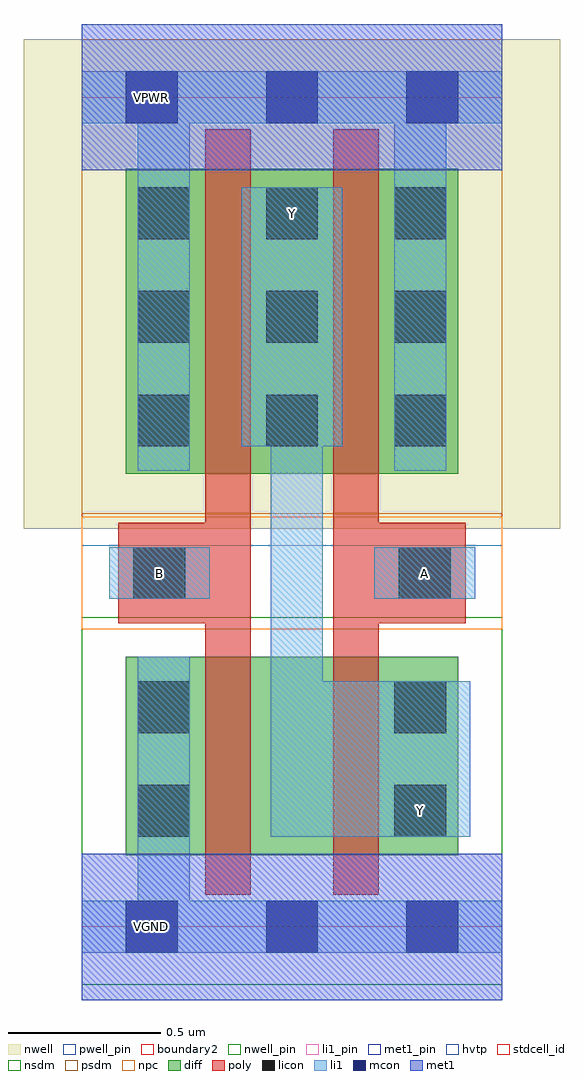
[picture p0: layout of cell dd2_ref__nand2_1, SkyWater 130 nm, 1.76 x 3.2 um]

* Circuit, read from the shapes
.subckt dd2_ref__nand2_1 A B VGND VNB VPB VPWR Y
XM1 n1 B VGND VNB sky130_fd_pr__nfet_01v8 w=0.65 l=0.15
XM2 Y A n1 VNB sky130_fd_pr__nfet_01v8 w=0.65 l=0.15
XM3 Y B VPWR VPB sky130_fd_pr__pfet_01v8_hvt w=1 l=0.15
XM4 VPWR A Y VPB sky130_fd_pr__pfet_01v8_hvt w=1 l=0.15
.ends

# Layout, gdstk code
import gdstk
lib = gdstk.Library(unit=1e-6, precision=1e-09)
def R(c, l, rs):  # rectangles x0, y0, x1, y1
    for r in rs: c.add(gdstk.rectangle(r[:2], r[2:], *l))
def A(c, l, x, y, w, h, nx, ny, dx, dy):  # array of equal rectangles
    R(c, l, [(x+i*dx, y+j*dy, x+i*dx+w, y+j*dy+h) for i in range(nx) for j in range(ny)])
nwell_pin = (64, 16)
nwell = (64, 20)
diff = (65, 20)
poly = (66, 20)
licon = (66, 44)
li1_pin = (67, 16)
li1 = (67, 20)
mcon = (67, 44)
met1_pin = (68, 16)
met1 = (68, 20)
hvtp = (78, 44)
stdcell_id = (81, 4)
nsdm = (93, 44)
psdm = (94, 20)
npc = (95, 20)
pwell_pin = (122, 16)
boundary2 = (236, 0)

dd2_ref__nand2_1 = lib.new_cell('dd2_ref__nand2_1')
R(dd2_ref__nand2_1, nwell_pin, [(0.145,2.635,0.315,2.805)])
R(dd2_ref__nand2_1, nwell, [(-0.19,1.305,1.57,2.91)])
R(dd2_ref__nand2_1, diff, [(0.145,0.235,0.69,0.885), (0.69,0.235,1.235,0.885), (0.145,1.485,0.69,2.485), (0.69,1.485,1.235,2.485)])
R(dd2_ref__nand2_1, poly, [(0.405,0.105,0.555,2.615), (0.825,0.105,0.975,2.615), (0.12,0.995,0.555,1.325), (0.825,0.995,1.26,1.325)])
A(dd2_ref__nand2_1, licon, 0.185, 1.575, 0.17, 0.17, 3, 3, 0.42, 0.34)
R(dd2_ref__nand2_1, licon, [(0.185,0.295,0.355,0.465), (1.025,0.295,1.195,0.465), (0.185,0.635,0.355,0.805), (1.025,0.635,1.195,0.805), (0.17,1.075,0.34,1.245), (1.04,1.075,1.21,1.245)])
R(dd2_ref__nand2_1, li1_pin, [(1.025,0.295,1.195,0.465), (0.17,1.075,0.34,1.245), (1.04,1.075,1.21,1.245), (0.605,2.255,0.775,2.425)])
R(dd2_ref__nand2_1, li1, [(0,-0.085,1.38,0.085), (0.185,-0.085,0.355,0.545), (0.185,0.295,0.355,0.885), (0.62,0.295,1.115,0.465), (0.62,0.295,0.79,2.425), (0.79,0.295,0.945,0.465), (0.79,0.295,0.945,0.465), (0.79,0.295,0.945,0.465), (0.79,0.295,0.945,0.465), (0.79,0.295,0.945,0.805), (0.79,0.295,0.945,0.805), (0.79,0.295,0.945,0.805), (0.79,0.295,0.945,0.805), (0.945,0.295,1.275,0.465), (0.945,0.295,1.275,0.805), (0.09,1.075,0.42,1.245), (0.96,1.075,1.29,1.245), (0.185,1.495,0.355,2.085), (1.025,1.495,1.195,2.085), (0.525,1.575,0.855,2.085), (0.185,1.835,0.355,2.425), (1.025,1.835,1.195,2.425), (0.525,1.915,0.855,2.425), (0.185,2.085,0.355,2.175), (0.185,2.085,0.355,2.175), (0.185,2.085,0.355,2.175), (0.185,2.085,0.355,2.175), (1.025,2.085,1.195,2.175), (1.025,2.085,1.195,2.175), (1.025,2.085,1.195,2.175), (1.025,2.085,1.195,2.175), (0.185,2.175,0.355,2.805), (1.025,2.175,1.195,2.805), (0.525,2.255,0.855,2.425), (0,2.635,1.38,2.805)])
A(dd2_ref__nand2_1, mcon, 0.145, -0.085, 0.17, 0.17, 3, 2, 0.46, 2.72)
R(dd2_ref__nand2_1, met1_pin, [(0.145,-0.085,0.315,0.085), (0.145,2.635,0.315,2.805)])
R(dd2_ref__nand2_1, met1, [(0,-0.24,1.38,0.24), (0,2.48,1.38,2.96)])
R(dd2_ref__nand2_1, hvtp, [(0,1.25,1.38,2.72)])
R(dd2_ref__nand2_1, stdcell_id, [(0,0,1.38,2.72)])
R(dd2_ref__nand2_1, nsdm, [(0,-0.19,1.38,1.015)])
R(dd2_ref__nand2_1, psdm, [(0,1.355,1.38,2.91)])
R(dd2_ref__nand2_1, npc, [(0,0.975,1.38,1.345)])
R(dd2_ref__nand2_1, pwell_pin, [(0.145,-0.085,0.315,0.085)])
R(dd2_ref__nand2_1, boundary2, [(0,0,1.38,2.72)])
dd2_ref__nand2_1.add(gdstk.Label('A', (1.125,1.16), layer=67, texttype=5))
dd2_ref__nand2_1.add(gdstk.Label('B', (0.255,1.16), layer=67, texttype=5))
dd2_ref__nand2_1.add(gdstk.Label('Y', (1.11,0.38), layer=67, texttype=5))
dd2_ref__nand2_1.add(gdstk.Label('Y', (0.69,2.34), layer=67, texttype=5))
dd2_ref__nand2_1.add(gdstk.Label('VGND', (0.23,0), layer=68, texttype=5))
dd2_ref__nand2_1.add(gdstk.Label('VPWR', (0.23,2.72), layer=68, texttype=5))
dd2_ref__nand2_1.add(gdstk.Label('VPB', (0.23,2.72), layer=64, texttype=5))
dd2_ref__nand2_1.add(gdstk.Label('VNB', (0.23,0), layer=64, texttype=59))

lib.write_gds('dd2_ref__nand2_1.gds')
